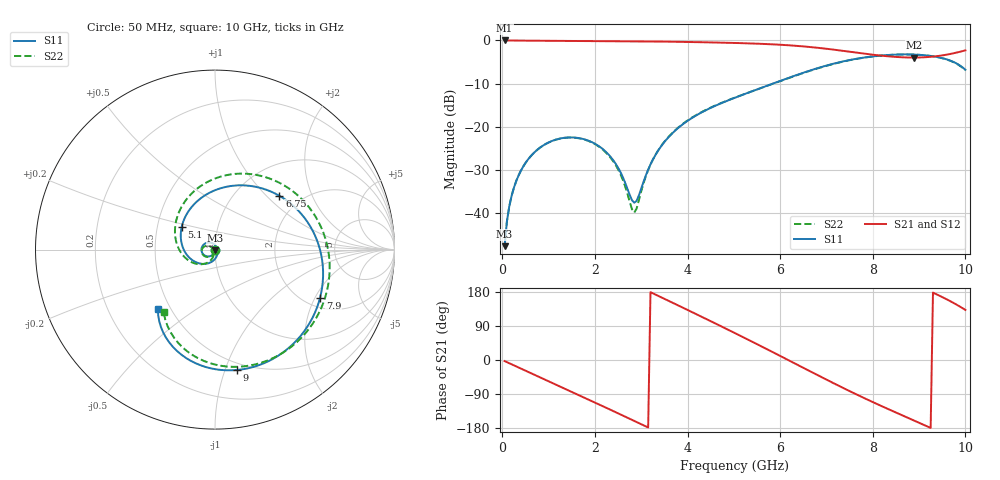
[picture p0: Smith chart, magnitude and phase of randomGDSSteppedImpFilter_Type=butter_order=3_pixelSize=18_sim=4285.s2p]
! freq	dB(S11)	phase(S11)	dB(S12)	phase(S12)
!  dB(S21)	phase(S21)	dB(S22)	phase(S22)
!S-par simulation data
#  GHz  S  DB  R 50
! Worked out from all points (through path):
!   200 points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, 50 MHz to 10 GHz, reference 50 ohm
!   highest |S21| = 0.00 dB at 50 MHz (marker M1); lowest = -4.0 dB at 8.9 GHz (marker M2)
!   group delay of S21, straight-line fit = 164 ps
!   lowest |S11| = -47.6 dB at 50 MHz (marker M3), VSWR 1.01, Z = 50 - j0.417 ohm
!   |S11| at or under -10 dB: start of sweep to 5.839 GHz
!   |S22| runs from -47.6 to -3.2 dB; largest |S21 - S12| = 0
!   S11 on the Smith chart (normalised r, x): 50 MHz: 1.00, -0.01; 5.1 GHz: 0.67, +0.18; 6.75 GHz: 1.56, +1.20; 7.9 GHz: 2.41, -2.20; 9 GHz: 0.44, -1.10; 10 GHz: 0.43, -0.36
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0.05  -47.60 -88.3  -0.00 -2.9  -0.00 -2.9  -47.61 -87.8
0.1  -41.89 -93.0  -0.01 -5.7  -0.01 -5.7  -41.88 -92.5
0.2  -36.02 -100.6  -0.02 -11.3  -0.02 -11.3  -36.00 -99.6
0.55  -27.63 -122.8  -0.05 -30.9  -0.05 -30.9  -27.63 -119.8
1.15  -22.97 -159.1  -0.10 -64.5  -0.10 -64.5  -22.99 -152.1
1.75  -22.82 163.4  -0.14 -98.2  -0.14 -98.2  -22.87 176.9
2.4  -27.78 115.5  -0.16 -135.0  -0.16 -135.0  -28.05 149.2
2.85  -37.56 18.6  -0.19 -160.8  -0.19 -160.8  -39.84 -158.5
3.4  -24.95 -94.1  -0.25 167.3  -0.25 167.3  -24.89 -109.4
4.3  -16.68 -160.3  -0.41 114.4  -0.41 114.4  -16.60 -151.6
5.05  -13.15 148.6  -0.59 69.4  -0.59 69.4  -13.12 168.4
5.1  -12.94 145.2  -0.61 66.4  -0.61 66.4  -12.92 165.6
5.95  -9.56 89.3  -0.97 13.9  -0.97 13.9  -9.61 115.8
6.7  -6.77 42.9  -1.58 -33.1  -1.58 -33.1  -6.83 68.3
6.75  -6.60 39.9  -1.63 -36.3  -1.63 -36.3  -6.67 65.1
7.3  -4.99 8.0  -2.32 -70.2  -2.32 -70.2  -5.04 30.1
7.9  -3.83 -24.6  -3.17 -105.4  -3.17 -105.4  -3.85 -6.2
8.35  -3.35 -47.5  -3.70 -130.4  -3.70 -130.4  -3.37 -31.9
8.9  -3.27 -74.6  -3.96 -160.1  -3.96 -160.1  -3.28 -62.0
9  -3.32 -79.6  -3.94 -165.5  -3.94 -165.5  -3.34 -67.5
9.5  -4.09 -105.1  -3.47 166.1  -3.47 166.1  -4.11 -95.9
10  -6.78 -134.0  -2.30 132.1  -2.30 132.1  -6.90 -129.2
